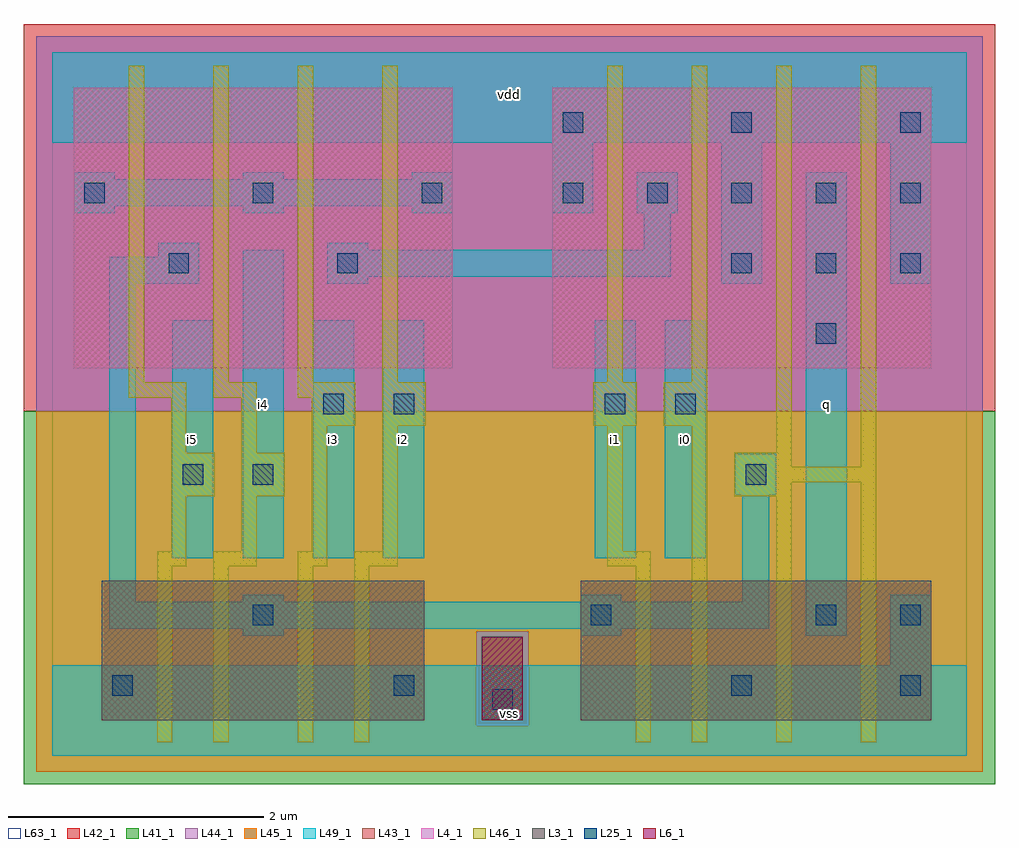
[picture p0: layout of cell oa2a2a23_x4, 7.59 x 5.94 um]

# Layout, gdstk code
import gdstk
lib = gdstk.Library(unit=1e-6, precision=1e-09)
def R(c, l, rs):  # rectangles x0, y0, x1, y1
    for r in rs: c.add(gdstk.rectangle(r[:2], r[2:], *l))
def A(c, l, x, y, w, h, nx, ny, dx, dy):  # array of equal rectangles
    R(c, l, [(x+i*dx, y+j*dy, x+i*dx+w, y+j*dy+h) for i in range(nx) for j in range(ny)])
L3_1 = (3, 1)
L4_1 = (4, 1)
L6_1 = (6, 1)
L25_1 = (25, 1)
L41_1 = (41, 1)
L42_1 = (42, 1)
L43_1 = (43, 1)
L44_1 = (44, 1)
L45_1 = (45, 1)
L46_1 = (46, 1)
L49_1 = (49, 1)
L63_1 = (63, 1)

oa2a2a23_x4 = lib.new_cell('oa2a2a23_x4')
R(oa2a2a23_x4, L3_1, [(0.39,0.28,2.91,1.37), (4.13,0.28,6.87,1.37)])
R(oa2a2a23_x4, L4_1, [(0.17,3.03,3.13,5.22), (3.91,3.03,6.87,5.22)])
R(oa2a2a23_x4, L6_1, [(3.36,0.28,3.68,0.93)])
A(oa2a2a23_x4, L25_1, 5.31, 3.77, 0.16, 0.16, 3, 1, 0.66, 0)
A(oa2a2a23_x4, L25_1, 0.25, 4.32, 0.16, 0.16, 3, 1, 1.32, 0)
A(oa2a2a23_x4, L25_1, 3.99, 4.32, 0.16, 0.16, 5, 1, 0.66, 0)
A(oa2a2a23_x4, L25_1, 3.99, 4.87, 0.16, 0.16, 3, 1, 1.32, 0)
R(oa2a2a23_x4, L25_1, [(3.44,0.36,3.6,0.52), (0.47,0.47,0.63,0.63), (2.67,0.47,2.83,0.63), (5.31,0.47,5.47,0.63), (6.63,0.47,6.79,0.63), (1.57,1.02,1.73,1.18), (4.21,1.02,4.37,1.18), (5.97,1.02,6.13,1.18), (6.63,1.02,6.79,1.18), (1.02,2.12,1.18,2.28), (1.57,2.12,1.73,2.28), (5.42,2.12,5.58,2.28), (2.12,2.67,2.28,2.83), (2.67,2.67,2.83,2.83), (4.32,2.67,4.48,2.83), (4.87,2.67,5.03,2.83), (5.97,3.22,6.13,3.38), (0.91,3.77,1.07,3.93), (2.23,3.77,2.39,3.93)])
R(oa2a2a23_x4, L41_1, [(-0.22,-0.22,7.37,2.695)])
R(oa2a2a23_x4, L42_1, [(-0.22,2.695,7.37,5.72)])
R(oa2a2a23_x4, L43_1, [(0.39,0.28,2.91,1.37), (3.36,0.28,3.68,0.93), (4.13,0.28,6.87,1.37), (0.17,3.03,3.13,5.22), (3.91,3.03,6.87,5.22)])
R(oa2a2a23_x4, L44_1, [(3.315,0.235,3.725,0.975), (-0.125,2.695,7.275,5.625)])
R(oa2a2a23_x4, L45_1, [(-0.125,-0.125,7.275,0.235), (-0.125,0.235,3.315,0.975), (3.725,0.235,7.275,0.975), (-0.125,0.975,7.275,2.695)])
A(oa2a2a23_x4, L46_1, 0.6, 2.92, 0.12, 2.475, 4, 1, 0.66, 0)
R(oa2a2a23_x4, L46_1, [(0.82,0.105,0.94,1.48), (1.26,0.105,1.38,1.48), (1.92,0.105,2.04,1.48), (2.36,0.105,2.48,1.48), (4.56,0.105,4.68,1.48), (5,0.105,5.12,2.58), (5.66,0.105,5.78,2.03), (6.32,0.105,6.44,2.14), (0.82,1.48,1.05,1.6), (1.26,1.48,1.6,1.6), (1.92,1.48,2.15,1.6), (2.36,1.48,2.7,1.6), (4.34,1.48,4.68,1.6), (0.93,1.6,1.05,2.03), (1.48,1.6,1.6,2.03), (2.03,1.6,2.15,2.58), (2.58,1.6,2.7,2.58), (4.34,1.6,4.46,2.58), (0.93,2.03,1.27,2.37), (1.48,2.03,1.82,2.37), (5.33,2.03,5.78,2.14), (5.33,2.14,6.44,2.26), (5.33,2.26,5.78,2.37), (6.32,2.26,6.44,5.395), (0.93,2.37,1.05,2.8), (1.48,2.37,1.6,2.8), (5.66,2.37,5.78,5.395), (2.03,2.58,2.37,2.8), (2.58,2.58,2.92,2.92), (4.23,2.58,4.57,2.92), (4.78,2.58,5.12,2.92), (0.6,2.8,1.05,2.92), (1.26,2.8,1.6,2.92), (1.92,2.8,2.37,2.92), (4.34,2.92,4.46,5.395), (5,2.92,5.12,5.395)])
A(oa2a2a23_x4, L49_1, 0.17, 4.24, 0.32, 0.055, 3, 2, 1.32, 0.265)
R(oa2a2a23_x4, L49_1, [(0,0,7.15,0.71), (6.55,0.71,6.87,1.26), (1.49,0.94,1.81,0.995), (4.13,0.94,4.45,0.995), (5.89,0.94,6.21,4.56), (0.445,0.995,5.605,1.205), (0.445,1.205,0.655,3.69), (1.49,1.205,1.81,1.26), (4.13,1.205,4.45,1.26), (5.395,1.205,5.605,2.04), (0.94,1.545,1.26,3.405), (1.49,1.545,1.81,3.955), (2.04,1.545,2.36,3.405), (2.59,1.545,2.91,3.405), (4.24,1.545,4.56,3.405), (4.79,1.545,5.11,3.405), (5.34,2.04,5.66,2.36), (0.445,3.69,1.15,3.9), (2.15,3.69,2.47,3.745), (5.23,3.69,5.55,4.79), (6.55,3.69,6.87,4.79), (2.15,3.745,4.835,3.955), (0.83,3.9,1.15,4.01), (2.15,3.955,2.47,4.01), (4.625,3.955,4.835,4.24), (3.91,4.24,4.23,4.79), (4.57,4.24,4.89,4.56), (0.17,4.295,3.13,4.505), (0,4.79,7.15,5.5)])
R(oa2a2a23_x4, L63_1, [(0,0,7.15,5.5)])
oa2a2a23_x4.add(gdstk.Label('i5', (1.1,2.475), layer=49, texttype=1))
oa2a2a23_x4.add(gdstk.Label('i5', (1.1,2.475), layer=49, texttype=1))
oa2a2a23_x4.add(gdstk.Label('i3', (2.2,2.475), layer=49, texttype=1))
oa2a2a23_x4.add(gdstk.Label('i4', (1.65,2.75), layer=49, texttype=1))
oa2a2a23_x4.add(gdstk.Label('i4', (1.65,2.75), layer=49, texttype=1))
oa2a2a23_x4.add(gdstk.Label('i3', (2.2,2.475), layer=49, texttype=1))
oa2a2a23_x4.add(gdstk.Label('vss', (3.575,0.33), layer=49, texttype=1))
oa2a2a23_x4.add(gdstk.Label('vss', (3.575,0.33), layer=49, texttype=1))
oa2a2a23_x4.add(gdstk.Label('i2', (2.75,2.475), layer=49, texttype=1))
oa2a2a23_x4.add(gdstk.Label('i2', (2.75,2.475), layer=49, texttype=1))
oa2a2a23_x4.add(gdstk.Label('vdd', (3.575,5.17), layer=49, texttype=1))
oa2a2a23_x4.add(gdstk.Label('vdd', (3.575,5.17), layer=49, texttype=1))
oa2a2a23_x4.add(gdstk.Label('i1', (4.4,2.475), layer=49, texttype=1))
oa2a2a23_x4.add(gdstk.Label('i1', (4.4,2.475), layer=49, texttype=1))
oa2a2a23_x4.add(gdstk.Label('i0', (4.95,2.475), layer=49, texttype=1))
oa2a2a23_x4.add(gdstk.Label('i0', (4.95,2.475), layer=49, texttype=1))
oa2a2a23_x4.add(gdstk.Label('q', (6.05,2.75), layer=49, texttype=1))
oa2a2a23_x4.add(gdstk.Label('q', (6.05,2.75), layer=49, texttype=1))

lib.write_gds('oa2a2a23_x4.gds')
